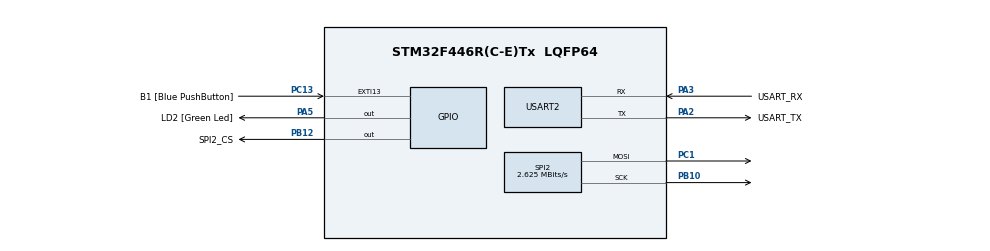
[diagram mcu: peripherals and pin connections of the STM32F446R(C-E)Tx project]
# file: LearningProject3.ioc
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Mcu.Family=STM32F4
Mcu.Name=STM32F446R(C-E)Tx
Mcu.Package=LQFP64
NVIC.PriorityGroup=NVIC_PRIORITYGROUP_0
PA13.GPIO_Label=TMS
PA13.Mode=Serial_Wire
PA13.Signal=SYS_JTMS-SWDIO
PA14.GPIO_Label=TCK
PA14.Mode=Serial_Wire
PA14.Signal=SYS_JTCK-SWCLK
PA2.GPIO_Label=USART_TX
PA2.Mode=Asynchronous
PA2.Signal=USART2_TX
PA3.GPIO_Label=USART_RX
PA3.Mode=Asynchronous
PA3.Signal=USART2_RX
PA5.GPIO_Label=LD2 [Green Led]
PA5.Signal=GPIO_Output
PB10.Mode=TX_Only_Simplex_Unidirect_Master
PB10.Signal=SPI2_SCK
PB12.GPIO_Label=SPI2_CS
PB12.Signal=GPIO_Output
PB3.GPIO_Label=SWO
PB3.Signal=SYS_JTDO-SWO
PC1.Mode=TX_Only_Simplex_Unidirect_Master
PC1.Signal=SPI2_MOSI
PC13.GPIO_Label=B1 [Blue PushButton]
PC13.GPIO_ModeDefaultEXTI=GPIO_MODE_IT_FALLING
PC13.Signal=GPXTI13
PC14-OSC32_IN.Mode=LSE-External-Oscillator
PC14-OSC32_IN.Signal=RCC_OSC32_IN
PC15-OSC32_OUT.Mode=LSE-External-Oscillator
PC15-OSC32_OUT.Signal=RCC_OSC32_OUT
PH0-OSC_IN.Mode=HSE-External-Oscillator
PH0-OSC_IN.Signal=RCC_OSC_IN
PH1-OSC_OUT.Mode=HSE-External-Oscillator
PH1-OSC_OUT.Signal=RCC_OSC_OUT
ProjectManager.HeapSize=0x200
ProjectManager.StackSize=0x400
ProjectManager.TargetToolchain=CMake
RCC.48MHZClocksFreq_Value=84000000
RCC.AHBFreq_Value=84000000
RCC.APB1CLKDivider=RCC_HCLK_DIV2
RCC.APB1Freq_Value=42000000
RCC.APB1TimFreq_Value=84000000
RCC.APB2Freq_Value=84000000
RCC.APB2TimFreq_Value=84000000
RCC.CortexFreq_Value=84000000
RCC.FLatency-AdvancedSettings=FLASH_LATENCY_2
RCC.HCLKFreq_Value=84000000
RCC.HSE_VALUE=8000000
RCC.HSI_VALUE=16000000
RCC.PLLN=336
RCC.PLLP=RCC_PLLP_DIV4
RCC.SYSCLKFreq_VALUE=84000000
RCC.SYSCLKSource=RCC_SYSCLKSOURCE_PLLCLK
RCC.USBFreq_Value=168000000
RCC.VCOOutputFreq_Value=336000000
SPI2.BaudRatePrescaler=SPI_BAUDRATEPRESCALER_16
SPI2.CLKPolarity=SPI_POLARITY_HIGH
SPI2.CalculateBaudRate=2.625 MBits/s
SPI2.DataSize=SPI_DATASIZE_16BIT
SPI2.Direction=SPI_DIRECTION_2LINES
SPI2.Mode=SPI_MODE_MASTER
SPI2.TIMode=SPI_TIMODE_DISABLE
SPI2.VirtualType=VM_MASTER
USART2.VirtualMode=VM_ASYNC
board=NUCLEO-F446RE

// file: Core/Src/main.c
/* USER CODE BEGIN Header */
/**
  ******************************************************************************
  * @file           : main.c
  * @brief          : Main program body
  ******************************************************************************
  * @attention
  *
  * Copyright (c) 2025 STMicroelectronics.
  * All rights reserved.
  *
  * This software is licensed under terms that can be found in the LICENSE file
  * in the root directory of this software component.
  * If no LICENSE file comes with this software, it is provided AS-IS.
  *
  ******************************************************************************
  */
/* USER CODE END Header */
#include "main.h"
#include "stm32f446xx.h"
#include "stm32f4xx_ll_spi.h"
#include "stm32f4xx_ll_utils.h"

void SystemClock_Config(void);
static void MX_GPIO_Init(void);
static void MX_USART2_UART_Init(void);
static void MX_SPI2_Init(void);
/* USER CODE BEGIN PFP */
void Write_SPI2_Value(uint16_t);
/* USER CODE END PFP */

int main(void)
{

  /* MCU Configuration--------------------------------------------------------*/

  /* Reset of all peripherals, Initializes the Flash interface and the Systick. */
  LL_APB2_GRP1_EnableClock(LL_APB2_GRP1_PERIPH_SYSCFG);
  LL_APB1_GRP1_EnableClock(LL_APB1_GRP1_PERIPH_PWR);

  /* System interrupt init*/
  NVIC_SetPriorityGrouping(NVIC_PRIORITYGROUP_0);

  /* Configure the system clock */
  SystemClock_Config();

  /* Initialize all configured peripherals */
  MX_GPIO_Init();
  MX_USART2_UART_Init();
  MX_SPI2_Init();
  /* USER CODE BEGIN 2 */
  LL_SPI_Enable(SPI2);
  /* USER CODE END 2 */

  /* Infinite loop */
  while (1)
  {

    /* USER CODE BEGIN 3 */

    /**
    D15 - X
    D14 - X
    D13 - X
    D12 - X
    D11 - Add
    D10 - Add
    D9 - Add
    D8 - Add
    D7 - Data (MSB)
    D6 - Data
    D5 - Data
    D4 - Data
    D3 - Data
    D2 - Data
    D1 - Data
    D0 - Data (LSB)

    Specific values:
    3073 - Normal Mode
    3072 - Shutdown Mode
    2304 - No decode mode
    2823 - Scan limit all columns (set all to on)

    */
    Write_SPI2_Value(0x0C00);
    Write_SPI2_Value(0x0C01);
    Write_SPI2_Value(0x0900);
    Write_SPI2_Value(0x0a01);
    Write_SPI2_Value(0x0b07);
    Write_SPI2_Value(0x0c01);
    Write_SPI2_Value(0x0f00);

    while(1) {
      Write_SPI2_Value(0x0101);
      LL_mDelay(1000);
    }
  }
  /* USER CODE END 3 */
}

void SystemClock_Config(void)
{
  LL_FLASH_SetLatency(LL_FLASH_LATENCY_2);
  while(LL_FLASH_GetLatency()!= LL_FLASH_LATENCY_2)
  {
  }
  LL_PWR_SetRegulVoltageScaling(LL_PWR_REGU_VOLTAGE_SCALE3);
  LL_PWR_DisableOverDriveMode();
  LL_RCC_HSI_SetCalibTrimming(16);
  LL_RCC_HSI_Enable();

   /* Wait till HSI is ready */
  while(LL_RCC_HSI_IsReady() != 1)
  {

  }
  LL_RCC_PLL_ConfigDomain_SYS(LL_RCC_PLLSOURCE_HSI, LL_RCC_PLLM_DIV_16, 336, LL_RCC_PLLP_DIV_4);
  LL_RCC_PLL_Enable();

   /* Wait till PLL is ready */
  while(LL_RCC_PLL_IsReady() != 1)
  {

  }
  while (LL_PWR_IsActiveFlag_VOS() == 0)
  {
  }
  LL_RCC_SetAHBPrescaler(LL_RCC_SYSCLK_DIV_1);
  LL_RCC_SetAPB1Prescaler(LL_RCC_APB1_DIV_2);
  LL_RCC_SetAPB2Prescaler(LL_RCC_APB2_DIV_1);
  LL_RCC_SetSysClkSource(LL_RCC_SYS_CLKSOURCE_PLL);

   /* Wait till System clock is ready */
  while(LL_RCC_GetSysClkSource() != LL_RCC_SYS_CLKSOURCE_STATUS_PLL)
  {

  }
  LL_Init1msTick(84000000);
  LL_SetSystemCoreClock(84000000);
  LL_RCC_SetTIMPrescaler(LL_RCC_TIM_PRESCALER_TWICE);
}

static void MX_SPI2_Init(void)
{

  LL_SPI_InitTypeDef SPI_InitStruct = {0};

  LL_GPIO_InitTypeDef GPIO_InitStruct = {0};

  /* Peripheral clock enable */
  LL_APB1_GRP1_EnableClock(LL_APB1_GRP1_PERIPH_SPI2);

  LL_AHB1_GRP1_EnableClock(LL_AHB1_GRP1_PERIPH_GPIOC);
  LL_AHB1_GRP1_EnableClock(LL_AHB1_GRP1_PERIPH_GPIOB);
  /**SPI2 GPIO Configuration
  PC1   ------> SPI2_MOSI
  PB10   ------> SPI2_SCK
  */
  GPIO_InitStruct.Pin = LL_GPIO_PIN_1;
  GPIO_InitStruct.Mode = LL_GPIO_MODE_ALTERNATE;
  GPIO_InitStruct.Speed = LL_GPIO_SPEED_FREQ_VERY_HIGH;
  GPIO_InitStruct.OutputType = LL_GPIO_OUTPUT_PUSHPULL;
  GPIO_InitStruct.Pull = LL_GPIO_PULL_NO;
  GPIO_InitStruct.Alternate = LL_GPIO_AF_7;
  LL_GPIO_Init(GPIOC, &GPIO_InitStruct);

  GPIO_InitStruct.Pin = LL_GPIO_PIN_10;
  GPIO_InitStruct.Mode = LL_GPIO_MODE_ALTERNATE;
  GPIO_InitStruct.Speed = LL_GPIO_SPEED_FREQ_VERY_HIGH;
  GPIO_InitStruct.OutputType = LL_GPIO_OUTPUT_PUSHPULL;
  GPIO_InitStruct.Pull = LL_GPIO_PULL_NO;
  GPIO_InitStruct.Alternate = LL_GPIO_AF_5;
  LL_GPIO_Init(GPIOB, &GPIO_InitStruct);

  /* SPI2 parameter configuration*/
  SPI_InitStruct.TransferDirection = LL_SPI_FULL_DUPLEX;
  SPI_InitStruct.Mode = LL_SPI_MODE_MASTER;
  SPI_InitStruct.DataWidth = LL_SPI_DATAWIDTH_16BIT;
  SPI_InitStruct.ClockPolarity = LL_SPI_POLARITY_HIGH;
  SPI_InitStruct.ClockPhase = LL_SPI_PHASE_1EDGE;
  SPI_InitStruct.NSS = LL_SPI_NSS_SOFT;
  SPI_InitStruct.BaudRate = LL_SPI_BAUDRATEPRESCALER_DIV16;
  SPI_InitStruct.BitOrder = LL_SPI_MSB_FIRST;
  SPI_InitStruct.CRCCalculation = LL_SPI_CRCCALCULATION_DISABLE;
  SPI_InitStruct.CRCPoly = 10;
  LL_SPI_Init(SPI2, &SPI_InitStruct);
  LL_SPI_SetStandard(SPI2, LL_SPI_PROTOCOL_MOTOROLA);

}

static void MX_USART2_UART_Init(void)
{

  LL_USART_InitTypeDef USART_InitStruct = {0};

  LL_GPIO_InitTypeDef GPIO_InitStruct = {0};

  /* Peripheral clock enable */
  LL_APB1_GRP1_EnableClock(LL_APB1_GRP1_PERIPH_USART2);

  LL_AHB1_GRP1_EnableClock(LL_AHB1_GRP1_PERIPH_GPIOA);
  /**USART2 GPIO Configuration
  PA2   ------> USART2_TX
  PA3   ------> USART2_RX
  */
  GPIO_InitStruct.Pin = USART_TX_Pin|USART_RX_Pin;
  GPIO_InitStruct.Mode = LL_GPIO_MODE_ALTERNATE;
  GPIO_InitStruct.Speed = LL_GPIO_SPEED_FREQ_VERY_HIGH;
  GPIO_InitStruct.OutputType = LL_GPIO_OUTPUT_PUSHPULL;
  GPIO_InitStruct.Pull = LL_GPIO_PULL_NO;
  GPIO_InitStruct.Alternate = LL_GPIO_AF_7;
  LL_GPIO_Init(GPIOA, &GPIO_InitStruct);

  USART_InitStruct.BaudRate = 115200;
  USART_InitStruct.DataWidth = LL_USART_DATAWIDTH_8B;
  USART_InitStruct.StopBits = LL_USART_STOPBITS_1;
  USART_InitStruct.Parity = LL_USART_PARITY_NONE;
  USART_InitStruct.TransferDirection = LL_USART_DIRECTION_TX_RX;
  USART_InitStruct.HardwareFlowControl = LL_USART_HWCONTROL_NONE;
  USART_InitStruct.OverSampling = LL_USART_OVERSAMPLING_16;
  LL_USART_Init(USART2, &USART_InitStruct);
  LL_USART_ConfigAsyncMode(USART2);
  LL_USART_Enable(USART2);

}

static void MX_GPIO_Init(void)
{
  LL_EXTI_InitTypeDef EXTI_InitStruct = {0};
  LL_GPIO_InitTypeDef GPIO_InitStruct = {0};

  /* GPIO Ports Clock Enable */
  LL_AHB1_GRP1_EnableClock(LL_AHB1_GRP1_PERIPH_GPIOC);
  LL_AHB1_GRP1_EnableClock(LL_AHB1_GRP1_PERIPH_GPIOH);
  LL_AHB1_GRP1_EnableClock(LL_AHB1_GRP1_PERIPH_GPIOA);
  LL_AHB1_GRP1_EnableClock(LL_AHB1_GRP1_PERIPH_GPIOB);

  /**/
  LL_GPIO_ResetOutputPin(LD2_GPIO_Port, LD2_Pin);

  /**/
  LL_GPIO_ResetOutputPin(SPI2_CS_GPIO_Port, SPI2_CS_Pin);

  /**/
  LL_SYSCFG_SetEXTISource(LL_SYSCFG_EXTI_PORTC, LL_SYSCFG_EXTI_LINE13);

  /**/
  EXTI_InitStruct.Line_0_31 = LL_EXTI_LINE_13;
  EXTI_InitStruct.LineCommand = ENABLE;
  EXTI_InitStruct.Mode = LL_EXTI_MODE_IT;
  EXTI_InitStruct.Trigger = LL_EXTI_TRIGGER_FALLING;
  LL_EXTI_Init(&EXTI_InitStruct);

  /**/
  LL_GPIO_SetPinPull(B1_GPIO_Port, B1_Pin, LL_GPIO_PULL_NO);

  /**/
  LL_GPIO_SetPinMode(B1_GPIO_Port, B1_Pin, LL_GPIO_MODE_INPUT);

  /**/
  GPIO_InitStruct.Pin = LD2_Pin;
  GPIO_InitStruct.Mode = LL_GPIO_MODE_OUTPUT;
  GPIO_InitStruct.Speed = LL_GPIO_SPEED_FREQ_LOW;
  GPIO_InitStruct.OutputType = LL_GPIO_OUTPUT_PUSHPULL;
  GPIO_InitStruct.Pull = LL_GPIO_PULL_NO;
  LL_GPIO_Init(LD2_GPIO_Port, &GPIO_InitStruct);

  /**/
  GPIO_InitStruct.Pin = SPI2_CS_Pin;
  GPIO_InitStruct.Mode = LL_GPIO_MODE_OUTPUT;
  GPIO_InitStruct.Speed = LL_GPIO_SPEED_FREQ_LOW;
  GPIO_InitStruct.OutputType = LL_GPIO_OUTPUT_PUSHPULL;
  GPIO_InitStruct.Pull = LL_GPIO_PULL_NO;
  LL_GPIO_Init(SPI2_CS_GPIO_Port, &GPIO_InitStruct);

}

/* USER CODE BEGIN 4 */
void Write_SPI2_Value(uint16_t value) {
  LL_GPIO_ResetOutputPin(SPI2_CS_GPIO_Port, SPI2_CS_Pin);
  LL_SPI_TransmitData16(SPI2, value);
  LL_GPIO_SetOutputPin(SPI2_CS_GPIO_Port, SPI2_CS_Pin);
}

/* USER CODE END 4 */

void Error_Handler(void)
{
  __disable_irq();
  while (1)
  {
  }
}
